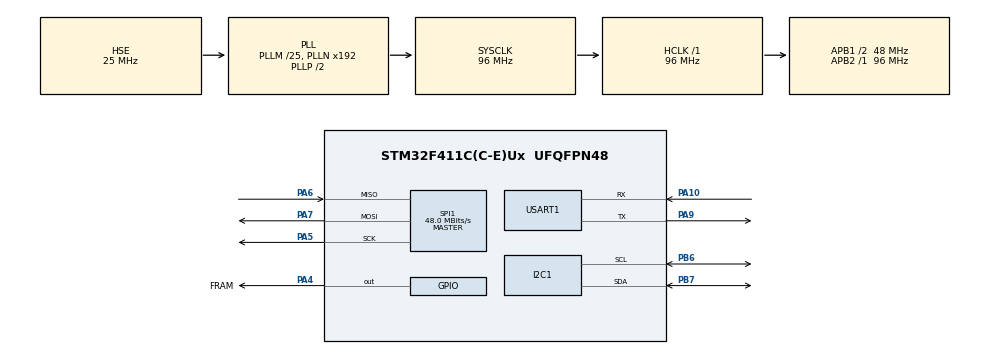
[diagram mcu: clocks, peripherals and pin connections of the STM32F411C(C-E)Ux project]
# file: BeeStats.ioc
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Mcu.Family=STM32F4
Mcu.Name=STM32F411C(C-E)Ux
Mcu.Package=UFQFPN48
NVIC.PriorityGroup=NVIC_PRIORITYGROUP_4
PA10.Mode=Asynchronous
PA10.Signal=USART1_RX
PA4.GPIO_Label=FRAM
PA4.PinState=GPIO_PIN_SET
PA4.Signal=GPIO_Output
PA5.Mode=Full_Duplex_Master
PA5.Signal=SPI1_SCK
PA6.Mode=Full_Duplex_Master
PA6.Signal=SPI1_MISO
PA7.Mode=Full_Duplex_Master
PA7.Signal=SPI1_MOSI
PA9.Mode=Asynchronous
PA9.Signal=USART1_TX
PB6.Mode=I2C
PB6.Signal=I2C1_SCL
PB7.Mode=I2C
PB7.Signal=I2C1_SDA
PC14-OSC32_IN.Mode=LSE-External-Oscillator
PC14-OSC32_IN.Signal=RCC_OSC32_IN
PC15-OSC32_OUT.Mode=LSE-External-Oscillator
PC15-OSC32_OUT.Signal=RCC_OSC32_OUT
PH0\ -\ OSC_IN.Mode=HSE-External-Oscillator
PH0\ -\ OSC_IN.Signal=RCC_OSC_IN
PH1\ -\ OSC_OUT.Mode=HSE-External-Oscillator
PH1\ -\ OSC_OUT.Signal=RCC_OSC_OUT
ProjectManager.HeapSize=0x200
ProjectManager.StackSize=0x400
ProjectManager.TargetToolchain=STM32CubeIDE
RCC.48MHZClocksFreq_Value=48000000
RCC.AHBFreq_Value=96000000
RCC.APB1CLKDivider=RCC_HCLK_DIV2
RCC.APB1Freq_Value=48000000
RCC.APB1TimFreq_Value=96000000
RCC.APB2Freq_Value=96000000
RCC.APB2TimFreq_Value=96000000
RCC.CortexFreq_Value=96000000
RCC.HCLKFreq_Value=96000000
RCC.HSE_VALUE=25000000
RCC.HSI_VALUE=16000000
RCC.PLLM=25
RCC.PLLSourceVirtual=RCC_PLLSOURCE_HSE
RCC.SYSCLKFreq_VALUE=96000000
RCC.SYSCLKSource=RCC_SYSCLKSOURCE_PLLCLK
RCC.VCOOutputFreq_Value=192000000
SPI1.CalculateBaudRate=48.0 MBits/s
SPI1.Direction=SPI_DIRECTION_2LINES
SPI1.Mode=SPI_MODE_MASTER
SPI1.VirtualType=VM_MASTER
USART1.VirtualMode=VM_ASYNC
VP_RTC_VS_RTC_Activate.Mode=RTC_Enabled
VP_RTC_VS_RTC_Calendar.Mode=RTC_Calendar
board=custom

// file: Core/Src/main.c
/* USER CODE BEGIN Header */
/**
  ******************************************************************************
  * @file           : main.c
  * @brief          : Main program body
  ******************************************************************************
  * @attention
  *
  * Copyright (c) 2025 STMicroelectronics.
  * All rights reserved.
  *
  * This software is licensed under terms that can be found in the LICENSE file
  * in the root directory of this software component.
  * If no LICENSE file comes with this software, it is provided AS-IS.
  *
  ******************************************************************************
  */
/* USER CODE END Header */
#include "main.h"
#include "stdio.h"
/* USER CODE BEGIN Includes */

#include "BH1750.h"
#include "FRAM.h"
extern uint16_t FRAMindex;
/* USER CODE END Includes */

I2C_HandleTypeDef hi2c1;

RTC_HandleTypeDef hrtc;

SPI_HandleTypeDef hspi1;

UART_HandleTypeDef huart1;

/* USER CODE BEGIN PV */
uint32_t ts;

/* USER CODE END PV */

void SystemClock_Config(void);
static void MX_GPIO_Init(void);
static void MX_I2C1_Init(void);
static void MX_RTC_Init(void);
static void MX_SPI1_Init(void);
static void MX_USART1_UART_Init(void);

int main(void)
{

  /* MCU Configuration--------------------------------------------------------*/

  /* Reset of all peripherals, Initializes the Flash interface and the Systick. */
  HAL_Init();

  /* Configure the system clock */
  SystemClock_Config();

  /* Initialize all configured peripherals */
  MX_GPIO_Init();
  MX_I2C1_Init();
  MX_RTC_Init();
  MX_SPI1_Init();
  MX_USART1_UART_Init();
  /* USER CODE BEGIN 2 */
  RTC_TimeTypeDef currentTime;
  RTC_DateTypeDef currentDate;

  FRAMindex = FRAM_ReadIndex();
  printf("Letzter Index aus FRAM: %u\r\n", FRAMindex);
  /* USER CODE END 2 */

  /* Infinite loop */
  /* USER CODE BEGIN WHILE */

for(int i1=0;i1<11;i1++){

	HAL_RTC_GetTime(&hrtc, &currentTime, RTC_FORMAT_BIN);
	  HAL_RTC_GetDate(&hrtc, &currentDate, RTC_FORMAT_BIN);  // Muss nach GetTime!

	  SensorData data;
	  data.year = currentDate.Year;
	  data.month = currentDate.Month;
	  data.day = currentDate.Date;
	  data.hour = currentTime.Hours;
	  data.minute = currentTime.Minutes;
	  data.second = currentTime.Seconds;
	  data.weight = FRAMindex;

	  FRAM_WriteEntry(FRAMindex,&data);

	  printf("Counter: %i Uhrzeit: %02d:%02d:%02d | Datum: %02d.%02d.20%02d\r\n",
			  FRAMindex,
			 currentTime.Hours,
	         currentTime.Minutes,
	         currentTime.Seconds,
	         currentDate.Date,
	         currentDate.Month,
	         currentDate.Year);

	  FRAMindex++;
	  FRAM_WriteIndex(FRAMindex);
	  HAL_Delay(1000);  // Ausgabe alle 1s

}

FRAM_PrintEntry(15);
FRAM_PrintEntry(6);
FRAM_PrintEntry(7);

    /* USER CODE END WHILE */

  }

void SystemClock_Config(void)
{
  RCC_OscInitTypeDef RCC_OscInitStruct = {0};
  RCC_ClkInitTypeDef RCC_ClkInitStruct = {0};

  /** Configure the main internal regulator output voltage
  */
  __HAL_RCC_PWR_CLK_ENABLE();
  __HAL_PWR_VOLTAGESCALING_CONFIG(PWR_REGULATOR_VOLTAGE_SCALE1);

  /** Initializes the RCC Oscillators according to the specified parameters
  * in the RCC_OscInitTypeDef structure.
  */
  RCC_OscInitStruct.OscillatorType = RCC_OSCILLATORTYPE_LSI|RCC_OSCILLATORTYPE_HSE;
  RCC_OscInitStruct.HSEState = RCC_HSE_ON;
  RCC_OscInitStruct.LSIState = RCC_LSI_ON;
  RCC_OscInitStruct.PLL.PLLState = RCC_PLL_ON;
  RCC_OscInitStruct.PLL.PLLSource = RCC_PLLSOURCE_HSE;
  RCC_OscInitStruct.PLL.PLLM = 25;
  RCC_OscInitStruct.PLL.PLLN = 192;
  RCC_OscInitStruct.PLL.PLLP = RCC_PLLP_DIV2;
  RCC_OscInitStruct.PLL.PLLQ = 4;
  if (HAL_RCC_OscConfig(&RCC_OscInitStruct) != HAL_OK)
  {
    Error_Handler();
  }

  /** Initializes the CPU, AHB and APB buses clocks
  */
  RCC_ClkInitStruct.ClockType = RCC_CLOCKTYPE_HCLK|RCC_CLOCKTYPE_SYSCLK
                              |RCC_CLOCKTYPE_PCLK1|RCC_CLOCKTYPE_PCLK2;
  RCC_ClkInitStruct.SYSCLKSource = RCC_SYSCLKSOURCE_PLLCLK;
  RCC_ClkInitStruct.AHBCLKDivider = RCC_SYSCLK_DIV1;
  RCC_ClkInitStruct.APB1CLKDivider = RCC_HCLK_DIV2;
  RCC_ClkInitStruct.APB2CLKDivider = RCC_HCLK_DIV1;

  if (HAL_RCC_ClockConfig(&RCC_ClkInitStruct, FLASH_LATENCY_3) != HAL_OK)
  {
    Error_Handler();
  }
}

static void MX_I2C1_Init(void)
{

  hi2c1.Instance = I2C1;
  hi2c1.Init.ClockSpeed = 100000;
  hi2c1.Init.DutyCycle = I2C_DUTYCYCLE_2;
  hi2c1.Init.OwnAddress1 = 0;
  hi2c1.Init.AddressingMode = I2C_ADDRESSINGMODE_7BIT;
  hi2c1.Init.DualAddressMode = I2C_DUALADDRESS_DISABLE;
  hi2c1.Init.OwnAddress2 = 0;
  hi2c1.Init.GeneralCallMode = I2C_GENERALCALL_DISABLE;
  hi2c1.Init.NoStretchMode = I2C_NOSTRETCH_DISABLE;
  if (HAL_I2C_Init(&hi2c1) != HAL_OK)
  {
    Error_Handler();
  }

}

static void MX_RTC_Init(void)
{

  RTC_TimeTypeDef sTime = {0};
  RTC_DateTypeDef sDate = {0};

  /** Initialize RTC Only
  */
  hrtc.Instance = RTC;
  hrtc.Init.HourFormat = RTC_HOURFORMAT_24;
  hrtc.Init.AsynchPrediv = 127;
  hrtc.Init.SynchPrediv = 255;
  hrtc.Init.OutPut = RTC_OUTPUT_DISABLE;
  hrtc.Init.OutPutPolarity = RTC_OUTPUT_POLARITY_HIGH;
  hrtc.Init.OutPutType = RTC_OUTPUT_TYPE_OPENDRAIN;
  if (HAL_RTC_Init(&hrtc) != HAL_OK)
  {
    Error_Handler();
  }

  /** Initialize RTC and set the Time and Date
  */
  sTime.Hours = 19;
  sTime.Minutes = 0x0;
  sTime.Seconds = 0x0;
  sTime.DayLightSaving = RTC_DAYLIGHTSAVING_NONE;
  sTime.StoreOperation = RTC_STOREOPERATION_RESET;
  if (HAL_RTC_SetTime(&hrtc, &sTime, RTC_FORMAT_BIN) != HAL_OK)
  {
    Error_Handler();
  }
  sDate.WeekDay = RTC_WEEKDAY_SATURDAY;
  sDate.Month = RTC_MONTH_JULY;
  sDate.Date = 12;
  sDate.Year = 25;

  if (HAL_RTC_SetDate(&hrtc, &sDate, RTC_FORMAT_BIN) != HAL_OK)
  {
    Error_Handler();
  }

}

static void MX_SPI1_Init(void)
{

  /* SPI1 parameter configuration*/
  hspi1.Instance = SPI1;
  hspi1.Init.Mode = SPI_MODE_MASTER;
  hspi1.Init.Direction = SPI_DIRECTION_2LINES;
  hspi1.Init.DataSize = SPI_DATASIZE_8BIT;
  hspi1.Init.CLKPolarity = SPI_POLARITY_LOW;
  hspi1.Init.CLKPhase = SPI_PHASE_1EDGE;
  hspi1.Init.NSS = SPI_NSS_SOFT;
  hspi1.Init.BaudRatePrescaler = SPI_BAUDRATEPRESCALER_8;  //geändert wegen Problemen, vorher wars 2
  hspi1.Init.FirstBit = SPI_FIRSTBIT_MSB;
  hspi1.Init.TIMode = SPI_TIMODE_DISABLE;
  hspi1.Init.CRCCalculation = SPI_CRCCALCULATION_DISABLE;
  hspi1.Init.CRCPolynomial = 10;
  if (HAL_SPI_Init(&hspi1) != HAL_OK)
  {
    Error_Handler();
  }

}

static void MX_USART1_UART_Init(void)
{

  huart1.Instance = USART1;
  huart1.Init.BaudRate = 115200;
  huart1.Init.WordLength = UART_WORDLENGTH_8B;
  huart1.Init.StopBits = UART_STOPBITS_1;
  huart1.Init.Parity = UART_PARITY_NONE;
  huart1.Init.Mode = UART_MODE_TX_RX;
  huart1.Init.HwFlowCtl = UART_HWCONTROL_NONE;
  huart1.Init.OverSampling = UART_OVERSAMPLING_16;
  if (HAL_UART_Init(&huart1) != HAL_OK)
  {
    Error_Handler();
  }

}

static void MX_GPIO_Init(void)
{
  GPIO_InitTypeDef GPIO_InitStruct = {0};

  /* GPIO Ports Clock Enable */
  __HAL_RCC_GPIOC_CLK_ENABLE();
  __HAL_RCC_GPIOH_CLK_ENABLE();
  __HAL_RCC_GPIOA_CLK_ENABLE();
  __HAL_RCC_GPIOB_CLK_ENABLE();

  /*Configure GPIO pin Output Level */
  HAL_GPIO_WritePin(FRAM_GPIO_Port, FRAM_Pin, GPIO_PIN_SET);

  /*Configure GPIO pin : FRAM_Pin */
  GPIO_InitStruct.Pin = FRAM_Pin;
  GPIO_InitStruct.Mode = GPIO_MODE_OUTPUT_PP;
  GPIO_InitStruct.Pull = GPIO_NOPULL;
  GPIO_InitStruct.Speed = GPIO_SPEED_FREQ_LOW;
  HAL_GPIO_Init(FRAM_GPIO_Port, &GPIO_InitStruct);

}

/* USER CODE BEGIN 4 */

int _write(int file, char *ptr, int len) {
    HAL_UART_Transmit(&huart1, (uint8_t*) ptr, len, HAL_MAX_DELAY);
    return len;}
/* USER CODE END 4 */

void Error_Handler(void)
{
  __disable_irq();
  while (1)
  {
  }
}
